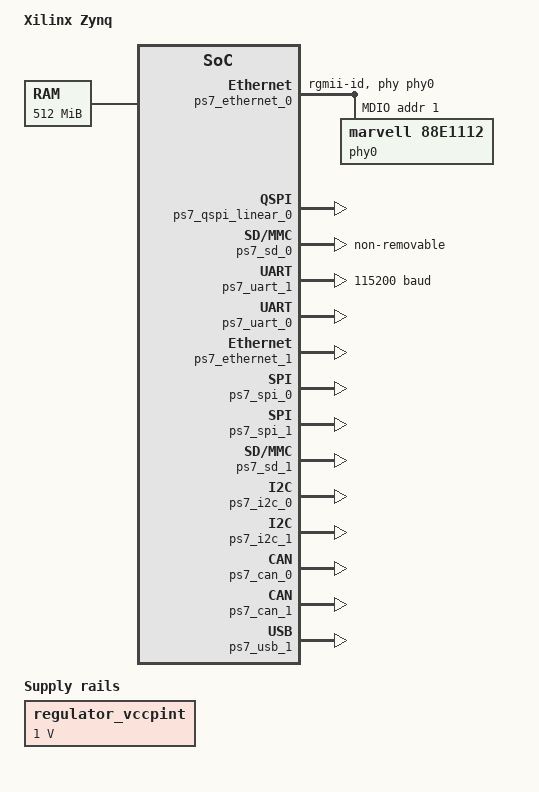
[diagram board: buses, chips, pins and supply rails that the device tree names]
/*
 * ADMXRC7Z1 DTS file header for generic boot.
 */

/ {
	model = "Xilinx Zynq";
	chosen {
		bootargs = "console=ttyPS0,115200 earlyprintk root=/dev/ram rw";
		linux,stdout-path = "/amba@0/serial@e0001000";
	} ;
	aliases {
		ethernet0 = &ps7_ethernet_0;
		serial0 = &ps7_uart_1;
        spi0 = &ps7_qspi_0;
	} ;

	cpus {
		ps7_cortexa9_0: cpu@0 {
            cpu-supply = <&regulator_vccpint>;    
        } ;
    } ;
	ps7_ddr_0: memory@0 {
		device_type = "memory";
		reg = <0x0 0x20000000>;
	} ;
    regulator_vccpint: fixedregulator@0 {
        compatible = "regulator-fixed";
        regulator-name = "VCCPINT";
        regulator-min-microvolt = <1000000>;
        regulator-max-microvolt = <1000000>;
        regulator-boot-on;
        regulator-always-on;
    } ;
	ps7_axi_interconnect_0: amba@0 {
    
		ps7_clockc_0: ps7-clockc@0 {
			compatible = "xlnx,ps7-clockc-1.00.a";
			xlnx,has-modem = <0x0>;
		} ;
    

		ps7_ethernet_0: ps7-ethernet@e000b000 {
			phy-handle = <&phy0>;
			phy-mode = "rgmii-id";
			xlnx,eth-mode = <0x1>;
			xlnx,has-mdio = <0x1>;
			xlnx,ptp-enet-clock = <83333336>;
			mdio {
				#address-cells = <1>;
				#size-cells = <0>;
				phy0: phy@1 {
					compatible = "marvell,88e1112";
					device_type = "ethernet-phy";
					reg = <1>;
				} ;
			} ;
		} ;

		ps7_qspi_0: ps7-qspi@e000d000 {
			is-dual = <0>;
			num-chip-select = <1>;
			reg = <0xe000d000 0x1000>;
			xlnx,fb-clk = <0x1>;
			xlnx,qspi-mode = <0x1>;
		} ;
        
		ps7_qspi_linear_0: ps7-qspi-linear@fc000000 {
			clock-names = "ref_clk", "aper_clk";
			clocks = <&clkc 10>, <&clkc 43>;
			compatible = "xlnx,ps7-qspi-linear-1.00.a";
			reg = <0xfc000000 0x2000000>;
		} ;
        

		ps7_sd_0: ps7-sdio@e0100000 {
            non-removable;
            broken-cd ;
            wp-inverted;
			clock-frequency = <50000000>;
			compatible = "xlnx,ps7-sdio-1.00.a", "arasan,sdhci", "arasan,sdhci-8.9a", "generic-sdhci";
			xlnx,has-cd = <0x0>;
			xlnx,has-power = <0x0>;
			xlnx,has-wp = <0x0>;
		} ;

		ps7_usb_0: ps7-usb@e0002000 {
            reg = <0xe0002000 0x1000>;
		} ;

		ps7_uart_1: serial@e0001000 {
			clock-names = "ref_clk", "aper_clk";
			clocks = <&clkc 24>, <&clkc 41>;
			compatible = "xlnx,ps7-uart-1.00.a", "xlnx,xuartps";
			current-speed = <115200>;
			device_type = "serial";
			interrupt-parent = <&ps7_scugic_0>;
			interrupts = <0 50 4>;
			port-number = <0>;
			reg = <0xe0001000 0x1000>;
			xlnx,has-modem = <0x0>;
		} ;
		
		ps7_fabric_irq_0: ps7_fabric_irq {
			compatible = "ad-datacard";
			interrupts = <0 29 4>;
			interrupt-parent = <&ps7_scugic_0>;
		} ;

		/* Disabled Devices */

		ps7_uart_0: serial@e0000000 { compatible = "invalid"; };
        ps7_ram_0: ps7-ram@fffc0000 { compatible = "invalid"; };
        ps7_dma_ns: ps7-dma@f8004000 { compatible = "invalid"; };
		ps7_ethernet_1: ps7-ethernet@e000c000 { compatible = "invalid"; };
        ps7_gpio_0: ps7-gpio@e000a000 { compatible = "invalid"; };
        ps7_spi_0: ps7-spi@e0006000 { compatible = "invalid"; };
        ps7_spi_1: ps7-spi@e0007000 { compatible = "invalid"; };
		ps7_sd_1: ps7-sdio@e0101000 { compatible = "invalid"; };
        ps7_ttc_1: ps7-ttc@f8002000 { compatible = "invalid"; };
        ps7_i2c_0: ps7-i2c@e0004000 { compatible = "invalid"; };
		ps7_i2c_1: ps7-i2c@e0005000 { compatible = "invalid"; };
		ps7_can_0: ps7-can@e0008000 { compatible = "invalid"; };
		ps7_can_1: ps7-can@e0009000 { compatible = "invalid"; };
		ps7_usb_1: ps7-usb@e0003000 { compatible = "invalid"; };


	} ;


	
} ;


